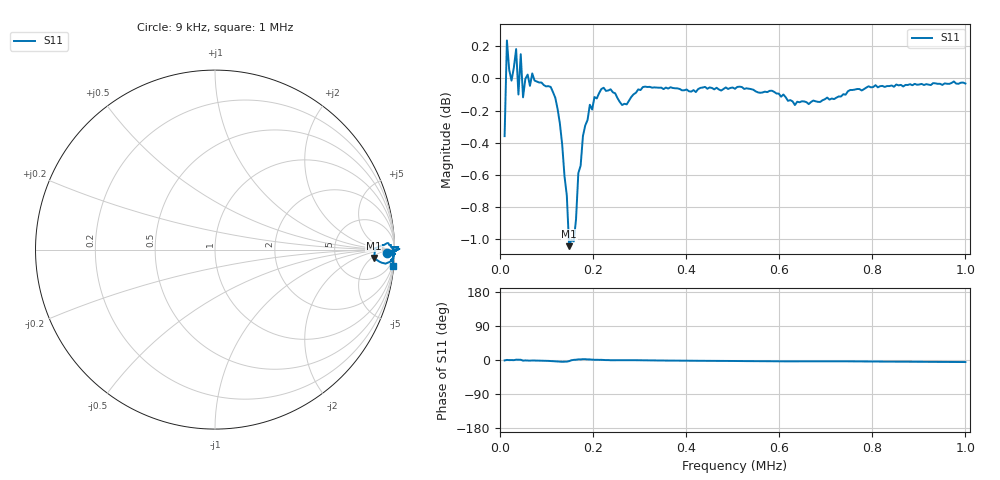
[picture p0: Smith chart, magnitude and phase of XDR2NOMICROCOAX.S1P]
!Agilent Technologies,E5071C,MY46100305,A.07.02
!Date: Fri Jan 01 00:20:04 1988
!Data & Calibration Information:
!Freq	S11:SOLT1(ON)
# Hz S MA R 50
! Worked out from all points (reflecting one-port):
!   201 points, 9 kHz to 1 MHz, reference 50 ohm
!   lowest |S11| = -1.0 dB at 147.7 kHz (marker M1), VSWR 16.65, Z = 697 - j307 ohm
!   phase of S11 starts at -1 deg and turns -4 deg over the sweep
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9000  0.9595 -1.1
13955  1.028 0.2
23865  0.9984 -0.1
28820  1.008 -0.5
33775  1.021 0.8
38730  0.9886 0.8
43685  1.018 0.6
48640  0.9866 -1.6
58550  1.003 -1.3
108100  0.994 -2.7
132875  0.9536 -4.7
142785  0.9195 -4.2
147740  0.8867 -3.0
152695  0.8908 -0.7
157650  0.8897 0.4
167560  0.9344 1.6
177470  0.9596 2.2
192335  0.9813 1.5
202245  0.9868 0.5
217110  0.9925 0.4
256750  0.9833 -0.9
281525  0.9869 -0.4
380625  0.9929 -1.7
504500  0.9926 -2.6
628375  0.9837 -3.5
752250  0.9918 -3.6
876125  0.9954 -4.5
1000000  0.9964 -5.4
